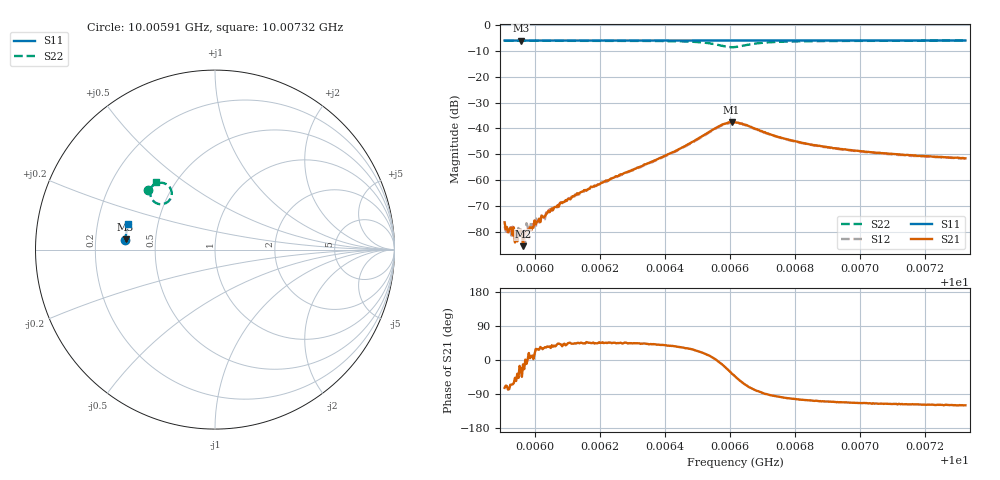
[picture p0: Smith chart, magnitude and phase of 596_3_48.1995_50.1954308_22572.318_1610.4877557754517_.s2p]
#  HZ  S  RI  R  50.00
! Rohde & Schwarz Vector Network Analyzer
! Rohde-Schwarz,ZNB20-2Port,1311601062101988,3.16
! Created: UTC 3/20/2024, 12:02:49 PM
! freq[Hz]  re:S11  im:S11  re:S21  im:S21  re:S12  im:S12  re:S22  im:S22
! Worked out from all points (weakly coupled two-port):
!   401 points, 10.00591 GHz to 10.00732 GHz, reference 50 ohm
!   highest |S21| = -37.58 dB at 10.00661 GHz (marker M1); lowest = -85.6 dB at 10.00596 GHz (marker M2)
!   lowest |S11| = -6.0 dB at 10.00596 GHz (marker M3), VSWR 3.02, Z = 16.6 + j2.59 ohm
!   |S11| at or under -10 dB: nowhere
!   |S22| runs from -8.5 to -6.0 dB; largest |S21 - S12| = 0.001
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1.0005908e10  -0.4991 0.0551  4.34e-05 -0.000146  1.9e-05 -0.000126  -0.3727 0.3304
1.0005918e10  -0.4991 0.0558  1.97e-05 -9.5e-05  4.57e-05 -0.000102  -0.3722 0.331
1.0005957e10  -0.4985 0.0583  9.75e-05 -4.01e-05  9e-05 -6.46e-05  -0.3701 0.3336
1.0005964e10  -0.4987 0.0589  5.14e-05 -1.06e-05  8.81e-05 -2.09e-05  -0.3697 0.3341
1.0005982e10  -0.4987 0.0601  9.81e-05 3.28e-05  6.37e-05 -3.8e-05  -0.3685 0.3352
1.0005989e10  -0.4985 0.0606  0.000104 1.68e-05  0.000153 4.62e-05  -0.3681 0.3358
1.0006007e10  -0.4984 0.0617  0.000134 7.43e-05  0.00017 6.79e-05  -0.3671 0.3367
1.0006014e10  -0.4985 0.0621  0.000159 8.27e-05  0.000138 6.06e-05  -0.3666 0.3372
1.0006025e10  -0.4985 0.0629  0.000175 9.54e-05  0.000152 0.00011  -0.3662 0.3379
1.0006042e10  -0.4982 0.064  0.000211 0.000145  0.000177 0.000138  -0.3651 0.3391
1.000611e10  -0.4979 0.0683  0.000296 0.0003  0.000287 0.000334  -0.3606 0.3438
1.0006145e10  -0.4976 0.0706  0.000419 0.000422  0.000406 0.0004  -0.358 0.3463
1.0006382e10  -0.4954 0.086  0.002 0.0017  0.00185 0.00173  -0.3303 0.3662
1.0006527e10  -0.4936 0.0956  0.0076 0.00209  0.0073 0.00241  -0.2704 0.3638
1.0006573e10  -0.4926 0.0982  0.0114 -0.00196  0.0112 -0.00118  -0.2414 0.3206
1.0006605e10  -0.4922 0.0996  0.0108 -0.00754  0.011 -0.00662  -0.2573 0.2712
1.0006616e10  -0.4921 0.1  0.00963 -0.00903  0.0099 -0.00832  -0.272 0.2599
1.0006694e10  -0.4922 0.1048  0.000854 -0.0088  0.00121 -0.00884  -0.352 0.2822
1.0006768e10  -0.4916 0.1098  -0.00106 -0.00623  -0.000747 -0.0062  -0.3604 0.3159
1.0006853e10  -0.4906 0.1153  -0.00141 -0.00464  -0.00116 -0.00461  -0.3563 0.3359
1.000709e10  -0.4873 0.1304  -0.00142 -0.0029  -0.00127 -0.00291  -0.3411 0.3627
1.0007324e10  -0.4837 0.1451  -0.0013 -0.0023  -0.00119 -0.00231  -0.3278 0.3784
